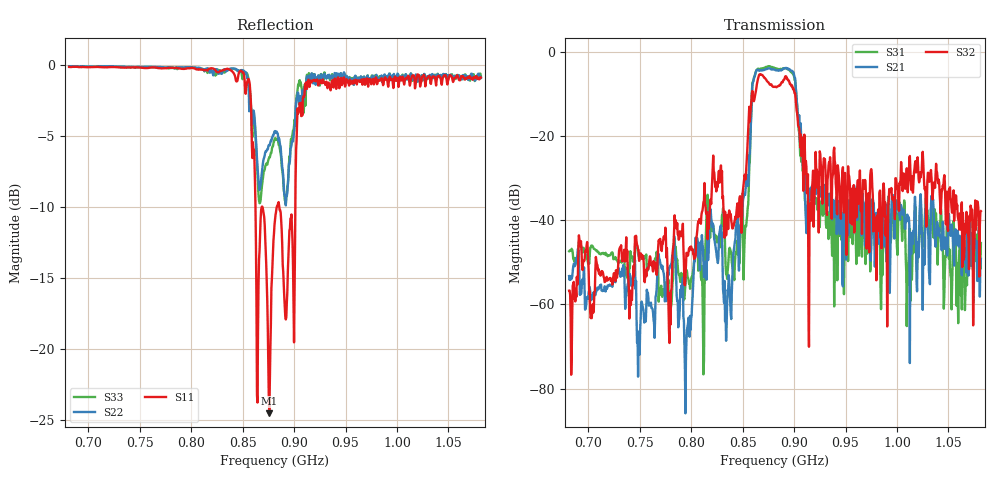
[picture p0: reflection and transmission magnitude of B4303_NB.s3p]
! Matrix data file written by TouchstoneData, EPCOS AG
! FILENAME: "newformat_B4303_x50y50_pcb06_NB.s3p"
! COMMENT: "(B4303_x50y50_pcb06_NB.s3p) Epcos AG 6/23/20"
! INFO: nport=3, nfreq=801
! DATE: "Wed Oct 12 10:28:59 2011"
! USER: "WeiLong Lin"
! port | pin | signal
!  1  |  1  |  in
!  2  |  2  |  out
!  3  |  4  |  out
# MHZ S MA R 50
! freq  magS11 angS11  magS12 angS12  magS13 angS13  ...
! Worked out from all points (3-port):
!   801 points, 681.5 MHz to 1.081 GHz, reference 50 ohm
!   strongest paths, dB at 681.5 MHz, 781.5 MHz, 881.5 MHz, 981.5 MHz, 1.081 GHz:
!     S32: -56.7, -52.5, -8.3, -40.2, -37.9
!     S21: -53.3, -48.9, -4.3, -37.7, -49.2
!     S31: -47.4, -57.4, -3.9, -40.5, -45.4
!   lowest |S11| = -24.6 dB at 876 MHz (marker M1), VSWR 1.13, Z = 54.4 + j4.3 ohm
!   |S11| at or under -10 dB: 862.5 MHz to 869 MHz (6.455 MHz wide, 0.746 % of centre); 869 MHz to 883.4 MHz (14.37 MHz wide, 1.64 % of centre); 885.6 MHz to 901.3 MHz (15.67 MHz wide, 1.75 % of centre)
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681.5  0.9809 -96.7  0.002204 11.1  0.004295 13.0
       0.00217 11.3  0.9863 -58.9  0.001458 178.1
       0.004279 12.9  0.001456 176.8  0.9847 -58.2
783  0.9744 -114.7  0.004742 -36.3  0.003103 97.5
     0.004729 -36.4  0.9755 -73.5  0.005082 -86.9
     0.003075 97.7  0.00509 -86.9  0.9716 -73.0
795  0.967 -117.8  0.000245 -103.3  0.002549 31.6
     0.0002296 -94.3  0.9789 -76.2  0.002928 -139.2
     0.002545 31.3  0.002904 -138.9  0.9712 -75.7
820  0.9703 -128.2  0.009679 9.6  0.008076 -175.7
     0.009674 9.7  0.951 -85.4  0.02133 -62.5
     0.008102 -175.8  0.02137 -62.6  0.9521 -85.7
834  0.9645 -137.7  0.0003361 -132.9  0.002283 109.3
     0.0003698 -130.3  0.9453 -92.5  0.006579 4.7
     0.002283 110.1  0.006599 4.7  0.9584 -91.4
876  0.05915 41.7  0.637 -107.8  0.6721 72.8
     0.6367 -107.8  0.5204 -57.3  0.4158 -56.1
     0.6718 72.7  0.4157 -56.2  0.472 -55.8
881.5  0.2846 -84.0  0.6096 -153.5  0.6406 27.6
       0.6096 -153.5  0.5832 -79.1  0.3846 -108.4
       0.6403 27.6  0.3852 -108.5  0.5504 -75.8
914.5  0.8674 -54.8  0.01755 42.2  0.01643 -139.9
       0.01753 42.4  0.9149 -27.1  0.0003198 8.3
       0.01647 -139.8  0.0003143 13.3  0.9329 -26.2
938  0.8327 -82.1  0.0174 32.8  0.01015 -158.6
     0.01737 32.9  0.8771 -50.1  0.03557 168.6
     0.01015 -158.7  0.03561 168.5  0.9066 -49.5
1081.5  0.8999 -107.9  0.003662 13.6  0.005432 49.7
        0.003466 13.7  0.8956 -71.2  0.01243 176.6
        0.005346 49.6  0.0128 176.9  0.9137 -70.8
